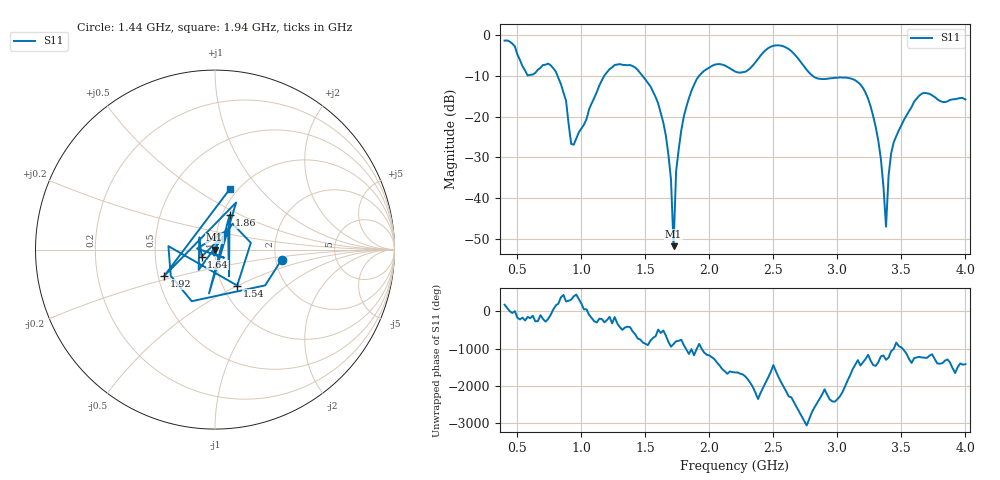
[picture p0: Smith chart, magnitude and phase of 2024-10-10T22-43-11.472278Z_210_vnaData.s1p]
! Created with skrf (http://scikit-rf.org).
# Hz S RI R 50.0
!freq ReS11 ImS11
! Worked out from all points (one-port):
!   181 points, 400 MHz to 4 GHz, reference 50 ohm
!   lowest |S11| = -51.8 dB at 1.72 GHz (marker M1), VSWR 1.01, Z = 49.8 - j0.112 ohm
!   |S11| at or under -10 dB: 813.9 MHz to 1.177 GHz (363.4 MHz wide, 36.5 % of centre); 1.479 GHz to 1.918 GHz (439 MHz wide, 25.8 % of centre); 2.809 GHz to end of sweep
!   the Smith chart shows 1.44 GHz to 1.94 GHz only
!   S11 on the Smith chart (normalised r, x): 1.44 GHz: 2.16, -0.28; 1.54 GHz: 1.17, -0.50; 1.64 GHz: 0.86, -0.07; 1.86 GHz: 1.09, +0.44; 1.92 GHz: 0.54, -0.18; 1.94 GHz: 0.92, +0.70
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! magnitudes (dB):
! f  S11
! 400 MHz  -1.3
! 580 MHz  -9.9
! 760 MHz  -7.4
! 860 MHz  -14.1
! 940 MHz  -26.9
! 1.18 GHz  -9.8
! 1.3 GHz  -7.1
! 1.44 GHz  -8.5
! 1.54 GHz  -12.6
! 1.64 GHz  -21.4
! 1.7 GHz  -35.5
! 1.72 GHz  -51.8
! 1.74 GHz  -33.4
! 1.76 GHz  -28.1
! 1.86 GHz  -13.6
! 1.92 GHz  -9.9
! 1.94 GHz  -9.2
! 2.2 GHz  -8.9
! 2.66 GHz  -4.5
! 3.1 GHz  -10.6
! 3.28 GHz  -19.9
! 3.34 GHz  -30.4
! 3.38 GHz  -47.0
! 3.4 GHz  -34.4
! 3.42 GHz  -29.0
! 3.56 GHz  -18.6
! 3.68 GHz  -14.1
! 4 GHz  -15.8
